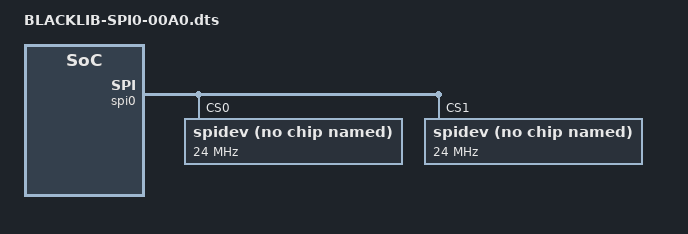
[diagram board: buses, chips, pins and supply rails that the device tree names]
/*
 * ####################################################################################
 * #  Custom device tree file to create virtual SPI0 cape in BlackLib Library.        #
 * #  Copyright (C) 2014 by Yigit YUCE                                                #
 * ####################################################################################
 * #                                                                                  #
 * #  This file is part of BlackLib library.                                          #
 * #                                                                                  #
 * #  BlackLib library is free software: you can redistribute it and/or modify        #
 * #  it under the terms of the GNU Lesser General Public License as published by     #
 * #  the Free Software Foundation, either version 3 of the License, or               #
 * #  (at your option) any later version.                                             #
 * #                                                                                  #
 * #  BlackLib library is distributed in the hope that it will be useful,             #
 * #  but WITHOUT ANY WARRANTY; without even the implied warranty of                  #
 * #  MERCHANTABILITY or FITNESS FOR A PARTICULAR PURPOSE.  See the                   #
 * #  GNU Lesser General Public License for more details.                             #
 * #                                                                                  #
 * #  You should have received a copy of the GNU Lesser General Public License        #
 * #  along with this program.  If not, see <http://www.gnu.org/licenses/>.           #
 * #                                                                                  #
 * #  For any comment or suggestion please contact the creator of BlackLib Library    #
 * #  at ygtyce@gmail.com                                                             #
 * #                                                                                  #
 * ####################################################################################
 */

/dts-v1/;
/plugin/;

/ {
    compatible      = "ti,beaglebone", "ti,beaglebone-black";

    part-number     = "BLACKLIB-SPI0";
    version         = "00A0";

    exclusive-use   =
        "P9.17",    /* spi0_cs0 */
        "P9.18",    /* spi0_d1 */
        "P9.21",    /* spi0_d0 */
        "P9.22",    /* spi0_sclk */
        "spi0";     /* the hardware ip uses */

    fragment@0 {
        target      = <&am33xx_pinmux>;
        __overlay__ {
            bb_spi0_pins: pinmux_bb_spi0_pins {
                pinctrl-single,pins = <
                    0x150 0x30      /* spi0_sclk.spi0_sclk,     INPUT_PULLUP  | MODE0 */
                    0x154 0x30      /* spi0_d0.spi0_d0,         INPUT_PULLUP  | MODE0 */
                    0x158 0x10      /* spi0_d1.spi0_d1,         OUTPUT_PULLUP | MODE0 */
                    0x15c 0x10      /* spi0_cs0.spi0_cs0,       OUTPUT_PULLUP | MODE0 */
                >;
            };
        };
    };

    fragment@1 {
        target = <&spi0>;
        __overlay__ {
            #address-cells  = <1>;
            #size-cells     = <0>;

            status          = "okay";
            pinctrl-names   = "default";
            pinctrl-0       = <&bb_spi0_pins>;

            spidev@0{
                compatible          = "spidev";
                reg                 = <0>;
                spi-max-frequency   = <24000000>;
            };
            spidev@1{
                compatible          = "spidev";
                reg                 = <1>;
                spi-max-frequency   = <24000000>;
            };  
        };
    };
};
